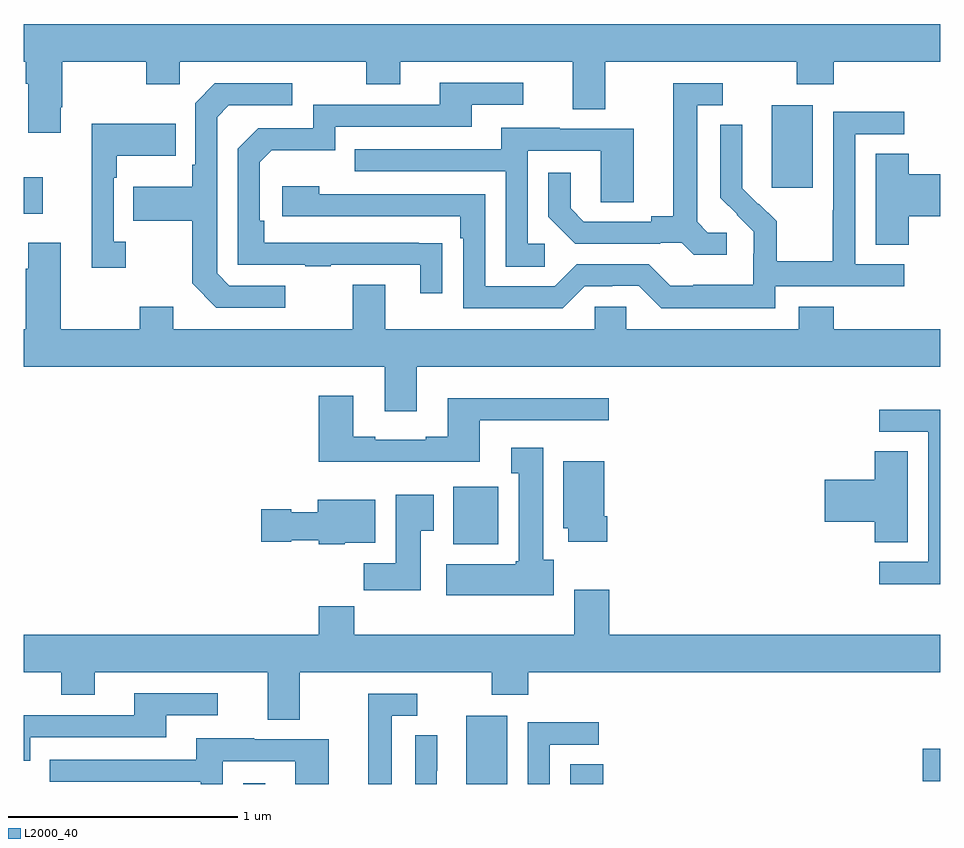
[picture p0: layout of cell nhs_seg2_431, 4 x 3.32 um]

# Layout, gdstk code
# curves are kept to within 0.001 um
import gdstk
lib = gdstk.Library(unit=1e-6, precision=1e-09)
def R(c, l, rs):  # rectangles x0, y0, x1, y1
    for r in rs: c.add(gdstk.rectangle(r[:2], r[2:], *l))
def P(c, l, *ps):  # polygons
    for p in ps: c.add(gdstk.Polygon(p, *l))
L2000_40 = (2000, 40)

nhs_seg2_431 = lib.new_cell('nhs_seg2_431')
R(nhs_seg2_431, L2000_40, [(131.958,661.8,132.055,661.804), (132.932,661.8,133.111,662.098), (133.385,661.8,133.529,661.886), (134.922,661.811,135,661.953), (132.875,662.846,133.071,663.097), (131,664.289,131.083,664.447), (134.264,664.401,134.443,664.762)])
P(nhs_seg2_431, L2000_40, [(131.161,664.753),(131.169,664.753),(131.169,664.952),(131.536,664.952),(131.536,664.853),(131.682,664.853),(131.682,664.952),(132.496,664.952),(132.496,664.853),(132.643,664.853),(132.643,664.952),(133.397,664.952),(133.397,664.744),(133.537,664.744),(133.537,664.952),(134.374,664.952),(134.374,664.853),(134.534,664.853),(134.534,664.952),(135,664.952),(135,665.116),(131,665.116),(131,664.952),(131.009,664.952),(131.009,664.856),(131.021,664.856),(131.021,664.641),(131.161,664.641)],
  [(132.827,664.16),(132.05,664.161),(132.05,664.258),(132.03,664.258),(132.03,664.512),(132.083,664.565),(132.36,664.565),(132.36,664.668),(132.955,664.668),(132.955,664.764),(133.18,664.764),(133.18,664.86),(132.815,664.86),(132.815,664.764),(132.264,664.764),(132.264,664.662),(132.024,664.662),(131.934,664.572),(131.934,664.065),(132.229,664.065),(132.229,664.06),(132.341,664.06),(132.341,664.065),(132.731,664.065),(132.731,663.942),(132.827,663.942)],
  [(134.068,664.206),(133.986,664.206),(133.939,664.253),(133.939,664.761),(134.05,664.761),(134.05,664.857),(133.835,664.857),(133.835,664.277),(133.739,664.277),(133.739,664.254),(133.444,664.254),(133.387,664.311),(133.387,664.468),(133.29,664.468),(133.29,664.274),(133.406,664.158),(133.778,664.158),(133.778,664.161),(133.872,664.161),(133.924,664.109),(134.068,664.109)],
  [(132.142,663.975),(131.898,663.975),(131.844,664.029),(131.844,664.71),(131.895,664.761),(132.172,664.761),(132.172,664.857),(131.835,664.857),(131.748,664.77),(131.748,664.501),(131.736,664.501),(131.736,664.405),(131.479,664.405),(131.479,664.258),(131.736,664.258),(131.736,663.985),(131.841,663.879),(132.142,663.879)],
  [(134.28,663.972),(134.842,663.972),(134.842,664.068),(134.628,664.068),(134.628,664.635),(134.842,664.635),(134.842,664.734),(134.532,664.734),(134.532,664.304),(134.53,664.304),(134.53,664.081),(134.285,664.081),(134.285,664.255),(134.208,664.332),(134.205,664.329),(134.135,664.4),(134.136,664.676),(134.04,664.676),(134.04,664.358),(134.186,664.21),(134.186,664.113),(134.184,664.113),(134.184,663.979),(133.921,663.979),(133.921,663.975),(133.821,663.975),(133.728,664.068),(133.413,664.068),(133.317,663.972),(133.014,663.972),(133.014,664.374),(132.29,664.374),(132.29,664.408),(132.129,664.408),(132.129,664.278),(132.905,664.278),(132.905,664.181),(132.918,664.181),(132.918,663.876),(133.353,663.876),(133.449,663.972),(133.568,663.972),(133.568,663.975),(133.683,663.975),(133.783,663.875),(134.28,663.875)],
  [(131.446,664.166),(131.394,664.166),(131.394,664.445),(131.407,664.445),(131.407,664.541),(131.663,664.541),(131.663,664.681),(131.297,664.681),(131.297,664.053),(131.446,664.053)],
  [(133.273,664.158),(133.2,664.158),(133.2,664.563),(133.518,664.563),(133.518,664.339),(133.663,664.339),(133.663,664.659),(133.339,664.659),(133.339,664.663),(133.085,664.663),(133.085,664.569),(132.445,664.569),(132.445,664.473),(133.104,664.473),(133.104,664.057),(133.273,664.057)],
  [(134.861,664.277),(135,664.277),(135,664.46),(134.861,664.46),(134.861,664.55),(134.717,664.55),(134.717,664.153),(134.861,664.153)],
  [(132.715,663.62),(135,663.62),(135,663.784),(134.534,663.784),(134.534,663.883),(134.381,663.883),(134.381,663.784),(133.629,663.784),(133.629,663.882),(133.491,663.882),(133.491,663.784),(132.577,663.784),(132.577,663.979),(132.437,663.979),(132.437,663.784),(131.653,663.784),(131.653,663.883),(131.506,663.883),(131.506,663.784),(131.161,663.784),(131.161,664.162),(131.021,664.162),(131.021,664.049),(131.009,664.049),(131.009,663.784),(131,663.784),(131,663.62),(132.575,663.62),(132.575,663.426),(132.715,663.426)],
  [(132.991,663.387),(133.552,663.387),(133.552,663.484),(132.851,663.484),(132.851,663.316),(132.755,663.316),(132.755,663.303),(132.535,663.303),(132.535,663.316),(132.439,663.316),(132.439,663.493),(132.287,663.493),(132.287,663.206),(132.991,663.206)],
  [(135,663.432),(134.733,663.432),(134.733,663.336),(134.946,663.336),(134.946,662.769),(134.733,662.769),(134.733,662.671),(135,662.671)],
  [(133.312,662.778),(133.267,662.778),(133.267,663.268),(133.127,663.268),(133.127,663.155),(133.16,663.155),(133.16,662.772),(133.147,662.772),(133.147,662.758),(132.843,662.758),(132.843,662.624),(133.312,662.624)],
  [(134.857,663.251),(134.714,663.251),(134.714,663.128),(134.496,663.128),(134.496,662.945),(134.714,662.945),(134.714,662.854),(134.857,662.854)],
  [(133.547,662.968),(133.534,662.968),(133.534,663.208),(133.355,663.208),(133.355,662.916),(133.376,662.916),(133.376,662.856),(133.547,662.856)],
  [(132.733,662.905),(132.79,662.905),(132.79,663.061),(132.623,663.061),(132.623,662.764),(132.484,662.764),(132.484,662.646),(132.733,662.646)],
  [(132.402,662.852),(132.535,662.852),(132.535,663.04),(132.284,663.04),(132.284,662.986),(132.168,662.986),(132.168,662.999),(132.036,662.999),(132.036,662.857),(132.168,662.857),(132.168,662.864),(132.288,662.864),(132.288,662.846),(132.402,662.846)],
  [(132.205,662.288),(133.042,662.288),(133.042,662.189),(133.202,662.189),(133.202,662.288),(135,662.288),(135,662.452),(133.556,662.452),(133.556,662.647),(133.403,662.647),(133.403,662.452),(132.443,662.452),(132.443,662.576),(132.287,662.576),(132.287,662.452),(131,662.452),(131,662.288),(131.164,662.288),(131.164,662.189),(131.311,662.189),(131.311,662.288),(132.065,662.288),(132.065,662.08),(132.205,662.08)],
  [(131.028,662.004),(131.623,662.004),(131.623,662.1),(131.848,662.1),(131.848,662.196),(131.483,662.196),(131.483,662.1),(131,662.1),(131,661.901),(131.028,661.901)],
  [(132.607,662.097),(132.718,662.097),(132.718,662.193),(132.503,662.193),(132.503,661.8),(132.607,661.8)],
  [(133.296,661.971),(133.51,661.971),(133.51,662.07),(133.2,662.07),(133.2,661.8),(133.296,661.8)],
  [(132.803,661.858),(132.804,661.858),(132.804,662.012),(132.708,662.012),(132.708,661.8),(132.803,661.8)],
  [(131.868,661.899),(132.186,661.899),(132.186,661.8),(132.331,661.8),(132.331,661.995),(132.007,661.995),(132.007,661.999),(131.753,661.999),(131.753,661.905),(131.113,661.905),(131.113,661.809),(131.772,661.809),(131.772,661.8),(131.868,661.8)])

lib.write_gds('nhs_seg2_431.gds')
